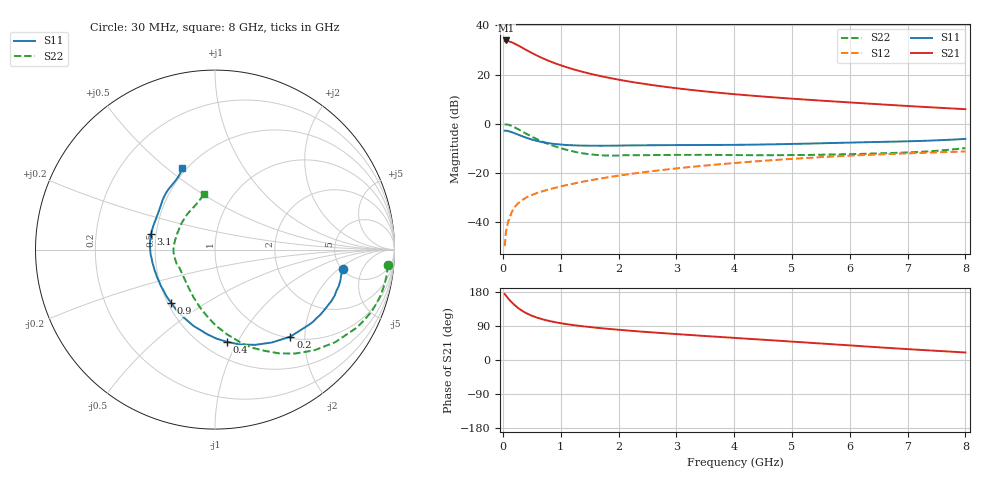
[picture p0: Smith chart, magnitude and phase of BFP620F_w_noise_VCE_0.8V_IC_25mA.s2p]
! Infineon Technologies  Discrete & RF Semiconductors
! BFP620F
! VCE =  0.8 V,  IC =  25 mA
! Common Emitter S-Parameters:  Dec 2014
# GHz  S  MA  R  50
!  f  S11  S21  S12  S22
! GHz  MAG  ANG  MAG  ANG  MAG  ANG  MAG  ANG
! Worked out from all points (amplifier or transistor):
!   95 points, 30 MHz to 8 GHz, reference 50 ohm
!   highest |S21| = 33.9 dB at 60 MHz (marker M1)
!   |S21| within 3 dB of that: start of sweep to 337.1 MHz
!   unconditionally stable (mu >= 1): 2.652 GHz to end of sweep
!   at 300 MHz: K = 0.34, MSG = 31.5 dB, |S12| = -31.7 dB
!   at 3.3 GHz: K = 1.02, MAG = 14.7 dB, |S12| = -17.5 dB
!   at 8 GHz: K = 1.06, MAG = 7.1 dB, |S12| = -11.3 dB
!   lowest NFmin = 1.00 dB at 450 MHz
!   S11 on the Smith chart (normalised r, x): 30 MHz: 5.08, -2.26; 200 MHz: 1.03, -1.70; 400 MHz: 0.64, -0.90; 900 MHz: 0.52, -0.36; 3.1 GHz: 0.47, +0.09; 8 GHz: 0.47, +0.57
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0.03  0.7189 -8.6  47.79 174.6  0.0032 80.0  0.9678 -5.2
0.06  0.7191 -16.3  49.45 168.7  0.0068 88.1  0.9643 -11.3
0.08  0.7141 -21.2  49.09 164.8  0.0087 84.1  0.9567 -15.6
0.12  0.6896 -31.7  46.71 157.5  0.0129 77.3  0.9275 -23.6
0.15  0.6713 -38.5  45.58 152.7  0.0156 72.3  0.8988 -29.2
0.2  0.6413 -49.1  42.77 145.4  0.0197 71.3  0.8441 -37.8
0.25  0.607 -58.5  39.96 138.9  0.0231 67.2  0.7871 -45.5
0.3  0.5761 -67.1  37.15 133.3  0.026 64.1  0.7311 -52.4
0.4  0.5181 -82.7  31.9 124.0  0.031 60.5  0.627 -64.0
0.5  0.4745 -95.0  27.52 116.9  0.0352 58.9  0.5449 -73.8
0.6  0.4414 -105.8  24.02 111.3  0.0392 57.6  0.4768 -81.9
0.7  0.4163 -114.8  21.19 106.8  0.0425 57.5  0.4237 -89.3
0.9  0.3842 -129.5  17 99.9  0.0493 57.4  0.3451 -102.1
1.1  0.367 -141.1  14.1 94.7  0.056 57.7  0.2933 -113.7
1.4  0.3578 -154.5  11.2 88.7  0.0664 57.9  0.2472 -129.5
2  0.3573 -173.0  7.876 79.8  0.0874 57.3  0.2232 -154.9
2.7  0.3647 172.7  5.851 71.6  0.1118 54.7  0.2292 -170.5
3.1  0.3669 166.2  5.105 67.4  0.126 52.8  0.2311 -176.7
4.1  0.3713 152.1  3.894 57.4  0.161 47.2  0.2288 170.0
5.4  0.3958 138.6  3 44.5  0.2047 38.2  0.2319 148.7
6.7  0.4289 125.3  2.405 31.6  0.2411 28.1  0.2521 126.3
8  0.4889 111.9  1.972 19.8  0.2711 18.4  0.3174 100.7
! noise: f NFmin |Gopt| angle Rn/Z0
0.45  1  0.01  10  0.2
0.9  1.04  0.01  11  0.16
1.5  1.06  0.02  -150  0.16
1.8  1.07  0.03  -150  0.16
1.9  1.07  0.04  -150  0.15
2.4  1.1  0.06  -147  0.16
3.5  1.17  0.1  -145  0.16
5.5  1.32  0.18  236  0.12
6  1.36  0.18  258  0.15
